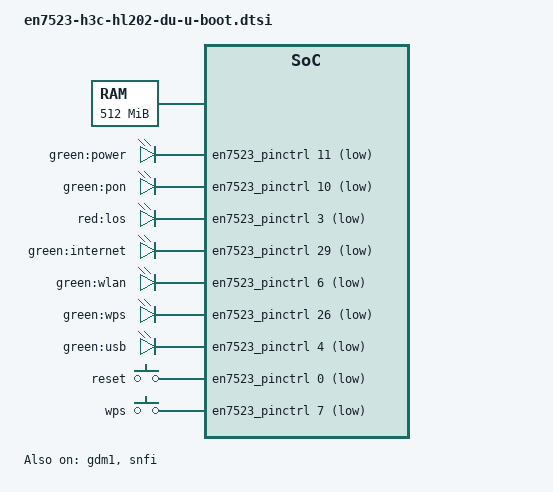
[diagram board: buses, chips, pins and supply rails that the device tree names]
// SPDX-License-Identifier: GPL-2.0+

/*
 * H3C HL202-DU board specifics for the U-Boot build.
 *
 * GPIO numbers come from the stock 7523duled.conf LED table dumped off the
 * device (led_no -> gpio). Polarity is the table's "onoff" column: 0 means
 * the LED lights when the line is driven low, i.e. GPIO_ACTIVE_LOW.
 * The single exception is the optical TX-disable line (gpio16), which is
 * active-high because driving it high mutes the transmitter.
 */

/ {
	/* When running as a first-stage bootloader this isn't filled in automatically */
	memory@80000000 {
		device_type = "memory";
		reg = <0x80000000 0x20000000>;
	};

	/* preboot turns the status LED on, so it has to exist before relocation. */
	leds {
		compatible = "gpio-leds";
		bootph-all;

		led-power {
			label = "green:power";
			gpios = <&en7523_pinctrl 11 GPIO_ACTIVE_LOW>;
			default-state = "on";
		};

		led-pon {
			label = "green:pon";
			gpios = <&en7523_pinctrl 10 GPIO_ACTIVE_LOW>;
		};

		led-los {
			label = "red:los";
			gpios = <&en7523_pinctrl 3 GPIO_ACTIVE_LOW>;
			default-state = "off";
		};

		led-internet {
			label = "green:internet";
			gpios = <&en7523_pinctrl 29 GPIO_ACTIVE_LOW>;
		};

		led-wlan {
			label = "green:wlan";
			gpios = <&en7523_pinctrl 6 GPIO_ACTIVE_LOW>;
		};

		led-wps {
			label = "green:wps";
			gpios = <&en7523_pinctrl 26 GPIO_ACTIVE_LOW>;
		};

		led-usb {
			label = "green:usb";
			gpios = <&en7523_pinctrl 4 GPIO_ACTIVE_LOW>;
		};
	};

	buttons {
		compatible = "gpio-keys";
		bootph-all;

		/* recovery-button.c looks this one up by label. */
		button-reset {
			label = "reset";
			gpios = <&en7523_pinctrl 0 GPIO_ACTIVE_LOW>;
		};

		button-wps {
			label = "wps";
			gpios = <&en7523_pinctrl 7 GPIO_ACTIVE_LOW>;
		};
	};
};

#include "en7523-u-boot.dtsi"

status_led: &{/leds/led-power} {
};

#include "an758x-status-led-u-boot.dtsi"

&gdm1 {
	/* Recovery networking requires gdm1 before relocation. */
	status = "okay";
	bootph-all;
};

&snfi {
	status = "okay";
};

&spi_nand {
	partitions {
		compatible = "fixed-partitions";
		#address-cells = <1>;
		#size-cells = <1>;

		/* BootROM loads BL2 out of the first 128 KiB eraseblock. */
		bl2@0 {
			label = "bl2";
			reg = <0x0 0x20000>;
		};

		/*
		 * Everything after BL2 is one UBI instance: fip, the redundant
		 * environments, factory data and the FIT system image.
		 */
		ubi@20000 {
			label = "ubi";
			reg = <0x20000 0xffe0000>;
		};
	};
};
